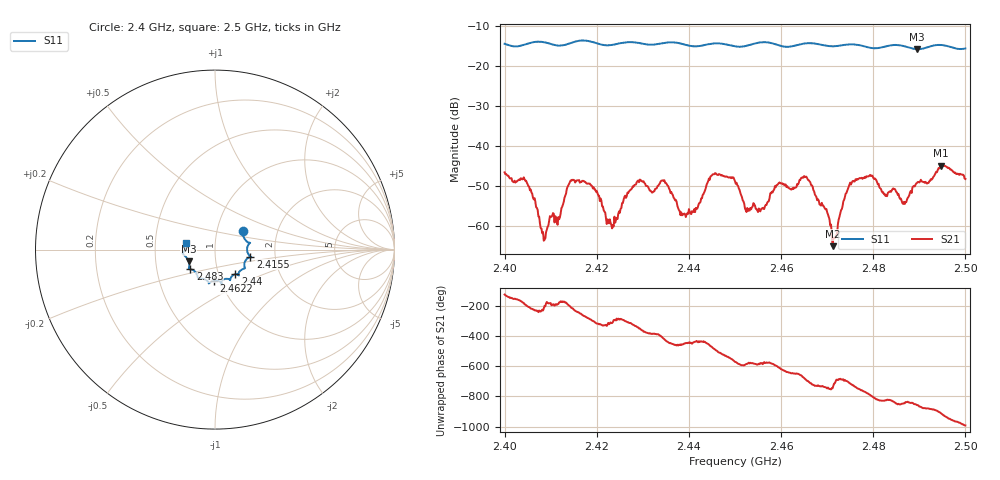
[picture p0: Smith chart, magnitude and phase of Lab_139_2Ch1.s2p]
# Hz S RI R 50
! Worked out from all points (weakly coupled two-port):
!   601 points, 2.4 GHz to 2.5 GHz, reference 50 ohm
!   highest |S21| = -44.93 dB at 2.4947 GHz (marker M1); lowest = -65.0 dB at 2.4712 GHz (marker M2)
!   lowest |S11| = -15.9 dB at 2.4895 GHz (marker M3), VSWR 1.38, Z = 36.9 - j4.99 ohm
!   |S11| at or under -10 dB: start of sweep to end of sweep
!   S12 and S22 are empty: the file has one direction only
!   S11 on the Smith chart (normalised r, x): 2.4 GHz: 1.33, +0.29; 2.4155 GHz: 1.49, -0.12; 2.44 GHz: 1.20, -0.34; 2.4622 GHz: 0.93, -0.33; 2.483 GHz: 0.74, -0.17; 2.5 GHz: 0.72, +0.06
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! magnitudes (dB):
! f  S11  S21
! 2.4 GHz  -14.5  -46.6
! 2.4047 GHz  -14.6  -48.7
! 2.4087 GHz  -14.2  -63.4
! 2.4155 GHz  -13.9  -48.6
! 2.4167 GHz  -13.7  -49.0
! 2.4232 GHz  -14.8  -59.7
! 2.429 GHz  -14.3  -48.6
! 2.4333 GHz  -14.6  -49.9
! 2.44 GHz  -15.0  -55.7
! 2.4452 GHz  -14.5  -47.0
! 2.45 GHz  -15.1  -48.8
! 2.4527 GHz  -15.0  -55.5
! 2.4622 GHz  -15.2  -50.9
! 2.4667 GHz  -14.4  -49.8
! 2.4712 GHz  -15.1  -65.0
! 2.4753 GHz  -14.7  -49.1
! 2.483 GHz  -15.1  -52.5
! 2.4833 GHz  -15.0  -51.5
! 2.4868 GHz  -15.2  -54.5
! 2.4895 GHz  -15.9  -49.2
! 2.4947 GHz  -14.8  -44.9
! 2.5 GHz  -15.7  -48.2
